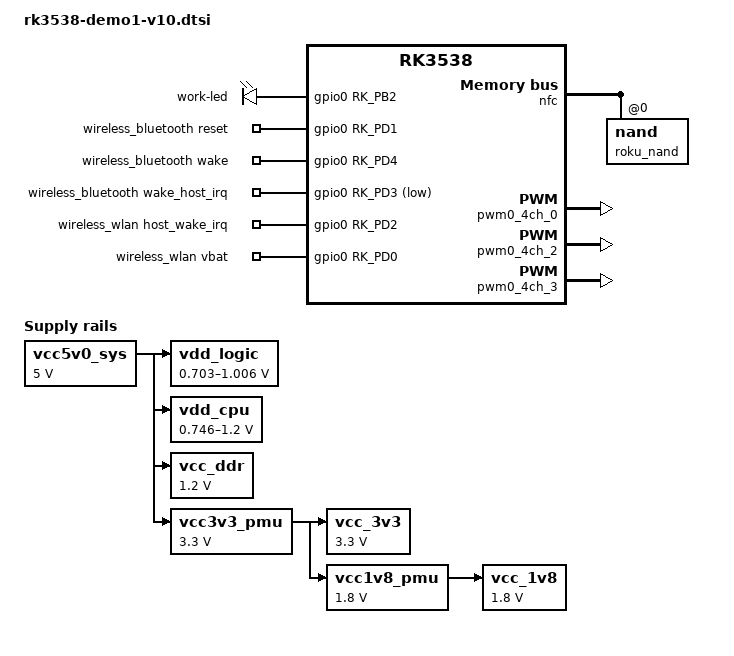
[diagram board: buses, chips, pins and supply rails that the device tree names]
// SPDX-License-Identifier: (GPL-2.0+ OR MIT)
/*
 * Copyright (c) 2025 Rockchip Electronics Co., Ltd.
 *
 */

/dts-v1/;

#include "rk3538.dtsi"
#include <dt-bindings/input/rk-input.h>
#include "rk3538-demo.dtsi"

/{
	gpio-leds {
		compatible = "gpio-leds";

		work-led {
			gpios = <&gpio0 RK_PB2 GPIO_ACTIVE_HIGH>;
			linux,default-trigger = "timer";
		};
	};

	vcc5v0_sys: vcc5v0-sys {
		compatible = "regulator-fixed";
		regulator-name = "vcc5v0_sys";
		regulator-always-on;
		regulator-boot-on;
		regulator-min-microvolt = <5000000>;
		regulator-max-microvolt = <5000000>;
	};

	vdd_logic: vdd-logic {
		compatible = "pwm-regulator";
		pwms = <&pwm0_4ch_2 0 25000 1>;
		regulator-name = "vdd_logic";
		regulator-init-microvolt = <901000>;
		regulator-min-microvolt = <703000>;
		regulator-max-microvolt = <1006000>;
		regulator-settling-time-up-us = <250>;
		regulator-always-on;
		regulator-boot-on;
		vin-supply = <&vcc5v0_sys>;
	};

	vdd_cpu: vdd-cpu {
		compatible = "pwm-regulator";
		pwms = <&pwm0_4ch_3 0 25000 1>;
		regulator-name = "vdd_cpu";
		regulator-init-microvolt = <953000>;
		regulator-min-microvolt = <746000>;
		regulator-max-microvolt = <1200000>;
		regulator-settling-time-up-us = <250>;
		regulator-always-on;
		regulator-boot-on;
		vin-supply = <&vcc5v0_sys>;
	};

	vcc_ddr: vcc-ddr {
		compatible = "regulator-fixed";
		regulator-name = "vcc_ddr";
		regulator-min-microvolt = <1200000>;
		regulator-max-microvolt = <1200000>;
		enable-active-low;
		regulator-boot-on;
		vin-supply = <&vcc5v0_sys>;
	};

	vcc3v3_pmu: vcc3v3-pmu {
		compatible = "regulator-fixed";
		regulator-name = "vcc3v3_pmu";
		regulator-min-microvolt = <3300000>;
		regulator-max-microvolt = <3300000>;
		enable-active-low;
		regulator-boot-on;
		vin-supply = <&vcc5v0_sys>;
	};

	vcc_3v3: vcc_3v3 {
		compatible = "regulator-fixed";
		regulator-name = "vcc_3v3";
		regulator-min-microvolt = <3300000>;
		regulator-max-microvolt = <3300000>;
		enable-active-low;
		regulator-boot-on;
		vin-supply = <&vcc3v3_pmu>;
	};

	vcc1v8_pmu: vcc1v8-pmu {
		compatible = "regulator-fixed";
		regulator-name = "vcc1v8_pmu";
		regulator-min-microvolt = <1800000>;
		regulator-max-microvolt = <1800000>;
		enable-active-low;
		regulator-boot-on;
		vin-supply = <&vcc3v3_pmu>;
	};

	vcc_1v8: vcc-1v8 {
		compatible = "regulator-fixed";
		regulator-name = "vcc_1v8";
		regulator-min-microvolt = <1800000>;
		regulator-max-microvolt = <1800000>;
		enable-active-low;
		regulator-boot-on;
		vin-supply = <&vcc1v8_pmu>;
	};

	wireless_bluetooth: wireless-bluetooth {
		compatible = "bluetooth-platdata";
		BT,reset_gpio    = <&gpio0 RK_PD1 GPIO_ACTIVE_HIGH>;
		BT,wake_gpio     = <&gpio0 RK_PD4 GPIO_ACTIVE_HIGH>;
		BT,wake_host_irq = <&gpio0 RK_PD3 GPIO_ACTIVE_LOW>;
		status = "okay";
	};

	wireless_wlan: wireless-wlan {
		compatible = "wlan-platdata";
		wifi_chip_type = "rtl8733u";
		pinctrl-names = "default";
		pinctrl-0 = <&wifi_host_wake_irq>;
		WIFI,host_wake_irq = <&gpio0 RK_PD2 GPIO_ACTIVE_HIGH>;
		WIFI,vbat_gpio = <&gpio0 RK_PD0 GPIO_ACTIVE_HIGH>;
		status = "okay";
	};
};

&cpu0 {
	cpu-supply = <&vdd_cpu>;
};

&cpu2 {
	cpu-supply = <&vdd_cpu>;
};

&gpu {
	mali-supply = <&vdd_logic>;
};

&nfc {
	status = "okay";
	nand: nand@0 {
		reg = <0>;
		label = "roku_nand";
		nand-bus-width = <8>;
		nand-ecc-mode = "hw";
		nand-ecc-step-size = <1024>;
		nand-ecc-strength = <16>;
		nand-is-boot-medium;
		rockchip,boot-blks = <8>;
		rockchip,boot-ecc-strength = <16>;
	};
};

&pinctrl {
	wireless-wlan {
		wifi_host_wake_irq: wifi-host-wake-irq {
			rockchip,pins = <0 RK_PD2 RK_FUNC_GPIO &pcfg_pull_down>;
		};
	};
};

&pwm0_4ch_0 {
	compatible = "rockchip,remotectl-pwm-v4";
	pinctrl-names = "default";
	pinctrl-0 = <&pwm0m1_ch0_pins>;
	remote_pwm_id = <0>;
	handle_cpu_id = <1>;
	remote_support_psci = <0>;
	status = "okay";

	ir_key1 {
		rockchip,usercode = <0xc7ea>;
		rockchip,key_table =
			<0xd5   0x2a>,	//ok
			<0x99   0x66>,	//back
			<0xfc   0x03>,	//home
			<0xe6   0x19>,	//up
			<0xcc   0x33>,	//down
			<0xe1   0x1e>,	//left
			<0xd2   0x2d>,	//right
			<0xe8   0x17>,	//power
			<0x70	0x09>,	//volumeup
			<0xef	0x0a>,	//volumedown
			<0xdf	0x0b>,	//mute
			<0x87	0x78>,	//replay
			<0x9d	0x62>,
			<0x9e	0x61>,	//info
			<0xcb	0x34>,	//backward
			<0xaa	0x55>,	//forward
			<0xb3	0x4c>,	//play/pause
			<0xad	0x52>,	//netflix
			<0xf3	0x0c>,	//disney
			<0x88	0x77>,	//atv
			<0xb2	0x4d>;	//hulu
	};

	ir_key2 {
		rockchip,usercode = <0xff00>;
		rockchip,key_table =
			<0xb1	0x03>,	//home
			<0xbf	0x66>,	//back
			<0xaa	0x2a>,	//ok
			<0xb9	0x19>,	//up
			<0xe9	0x33>,	//down
			<0xb8	0x1e>,	//left
			<0xea	0x2d>,	//right
			<0xeb	0x0a>,	//volumedown
			<0xef	0x09>,	//volumeup
			<0xf7	0x0b>,	//mute
			<0xe7	0x17>;	//power
	};
};

&pwm0_4ch_2 {
	status = "okay";
};

&pwm0_4ch_3 {
	pinctrl-0 = <&pwm0m1_ch3_pins>;
	status = "okay";
};

